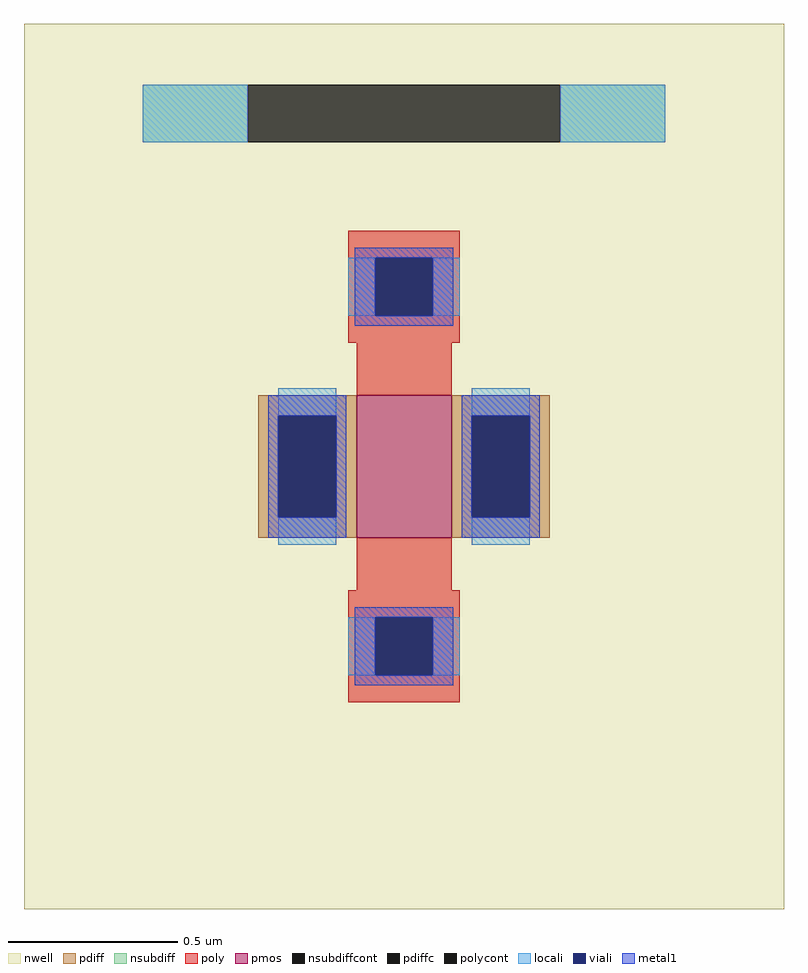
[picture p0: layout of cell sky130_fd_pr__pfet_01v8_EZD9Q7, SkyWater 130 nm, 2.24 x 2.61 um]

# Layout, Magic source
magic
tech sky130A
magscale 1 2
<< nwell >>
rect -224 -261 224 261
<< pmos >>
rect -28 -42 28 42
<< pdiff >>
rect -86 30 -28 42
rect -86 -30 -74 30
rect -40 -30 -28 30
rect -86 -42 -28 -30
rect 28 30 86 42
rect 28 -30 40 30
rect 74 -30 86 30
rect 28 -42 86 -30
<< pdiffc >>
rect -74 -30 -40 30
rect 40 -30 74 30
<< nsubdiff >>
rect -154 191 -92 225
rect 92 191 154 225
<< nsubdiffcont >>
rect -92 191 92 225
<< poly >>
rect -33 123 33 139
rect -33 89 -17 123
rect 17 89 33 123
rect -33 73 33 89
rect -28 42 28 73
rect -28 -73 28 -42
rect -33 -89 33 -73
rect -33 -123 -17 -89
rect 17 -123 33 -89
rect -33 -139 33 -123
<< polycont >>
rect -17 89 17 123
rect -17 -123 17 -89
<< locali >>
rect -154 191 -92 225
rect 92 191 154 225
rect -33 89 -17 123
rect 17 89 33 123
rect -74 30 -40 46
rect -74 -46 -40 -30
rect 40 30 74 46
rect 40 -46 74 -30
rect -33 -123 -17 -89
rect 17 -123 33 -89
<< viali >>
rect -17 89 17 123
rect -74 -30 -40 30
rect 40 -30 74 30
rect -17 -123 17 -89
<< metal1 >>
rect -29 123 29 129
rect -29 89 -17 123
rect 17 89 29 123
rect -29 83 29 89
rect -80 30 -34 42
rect -80 -30 -74 30
rect -40 -30 -34 30
rect -80 -42 -34 -30
rect 34 30 80 42
rect 34 -30 40 30
rect 74 -30 80 30
rect 34 -42 80 -30
rect -29 -89 29 -83
rect -29 -123 -17 -89
rect 17 -123 29 -89
rect -29 -129 29 -123
<< properties >>
string FIXED_BBOX -171 -208 171 208
string gencell sky130_fd_pr__pfet_01v8
string library sky130
string parameters w 0.42 l 0.28 m 1 nf 1 diffcov 100 polycov 100 guard 1 glc 1 grc 1 gtc 1 gbc 1 tbcov 100 rlcov 100 topc 1 botc 1 poverlap 0 doverlap 1 lmin 0.15 wmin 0.42 compatible {sky130_fd_pr__pfet_01v8  sky130_fd_pr__pfet_01v8_lvt sky130_fd_pr__pfet_01v8_hvt  sky130_fd_pr__pfet_g5v0d10v5} full_metal 1 viasrc 100 viadrn 100 viagate 100 viagb 0 viagr 0 viagl 0 viagt 0
<< end >>
